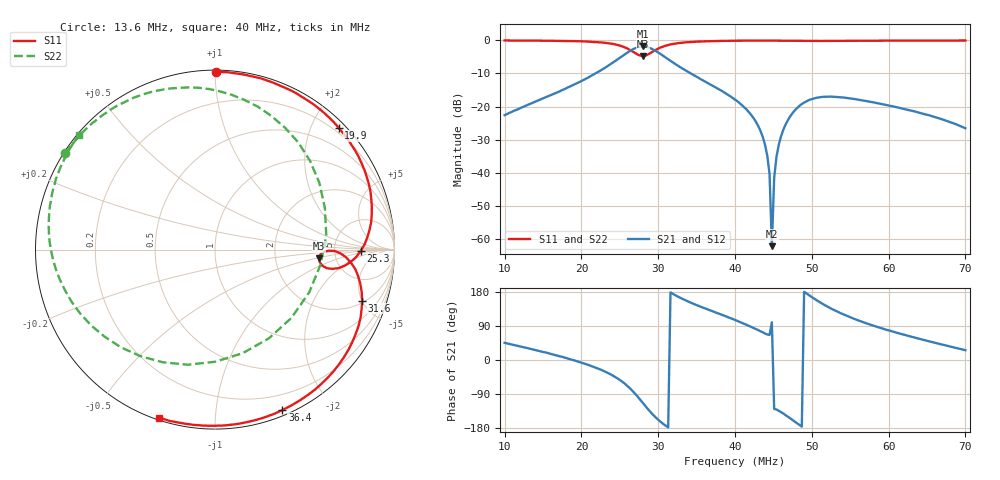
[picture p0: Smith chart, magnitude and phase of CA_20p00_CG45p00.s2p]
#  HZ  S  RI  R  50.00
! Rohde & Schwarz ZVT8 8Ports - Version 4.11 - 1300.0000k08 SN: 100242
! Date: 2026-07-31 14:28:29
! Measurements: S11 S21 S12 S22
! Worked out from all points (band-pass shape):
!   201 points, 10 MHz to 70 MHz, reference 50 ohm
!   highest |S21| = -1.85 dB at 28 MHz (marker M1); lowest = -62.2 dB at 44.8 MHz (marker M2)
!   |S21| within 3 dB of the highest: 25.25 MHz to 30.76 MHz (5.514 MHz wide, 19.7 % of centre)
!   lowest |S11| = -4.7 dB at 28 MHz (marker M3), VSWR 3.78, Z = 185 - j26.8 ohm
!   |S11| at or under -10 dB: nowhere
!   |S22| runs from -4.9 to 0.0 dB; largest |S21 - S12| = 0.0031
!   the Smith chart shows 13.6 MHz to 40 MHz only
!   S11 on the Smith chart (normalised r, x): 13.6 MHz: 0.01, +1.01; 19.9 MHz: 0.12, +2.43; 25.3 MHz: 9.65, -0.41; 31.6 MHz: 2.18, -5.02; 36.4 MHz: 0.05, -1.50; 40 MHz: 0.01, -0.72
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1e7  -0.4078 0.9097  0.0522 0.0527  0.052 0.0527  -0.9168 0.3904
1.36e7  0.00567 0.9914  0.0998 0.0538  0.0999 0.0532  -0.8333 0.5363
1.99e7  0.6887 0.6786  0.2378 -0.0263  0.2383 -0.0263  -0.5311 0.8093
2.02e7  0.7138 0.6488  0.247 -0.0357  0.2464 -0.0353  -0.5087 0.819
2.53e7  0.8125 -0.00715  0.3154 -0.4849  0.315 -0.4833  0.3145 0.7443
2.8e7  0.5796 -0.0479  -0.3204 -0.7424  -0.3175 -0.7437  0.425 -0.3812
3.01e7  0.7569 -0.0722  -0.604 -0.2269  -0.6019 -0.2274  -0.5236 -0.5447
3.16e7  0.8199 -0.2842  -0.4904 0.0138  -0.4913 0.0142  -0.8343 -0.2297
3.64e7  0.376 -0.8938  -0.1584 0.1647  -0.1588 0.1649  -0.8771 0.4165
4e7  -0.3131 -0.9356  -0.0345 0.1227  -0.0345 0.1227  -0.755 0.6408
4.39e7  -0.9752 -0.1817  0.00916 0.0251  0.00915 0.0251  -0.6064 0.7916
4.45e7  -0.9914 0.0236  0.00385 0.00869  0.00388 0.00856  -0.5835 0.8093
4.48e7  -0.9819 0.133  -0.000128 0.000766  -0.000119 0.000894  -0.5712 0.8176
4.51e7  -0.9606 0.2431  -0.00527 -0.00648  -0.0053 -0.00645  -0.5597 0.8268
4.6e7  -0.8117 0.5679  -0.0264 -0.0241  -0.0264 -0.0239  -0.5236 0.8486
4.81e7  -0.00486 0.9838  -0.0929 -0.0214  -0.0928 -0.0213  -0.4397 0.8898
5.02e7  0.7994 0.5676  -0.1263 0.0379  -0.126 0.0377  -0.3609 0.9201
5.23e7  0.9649 -0.1829  -0.1052 0.0943  -0.1051 0.0945  -0.2849 0.9447
5.5e7  0.5576 -0.813  -0.0513 0.1226  -0.0511 0.1223  -0.1864 0.9708
6.01e7  -0.4115 -0.9005  0.0219 0.1009  0.022 0.1004  0.00446 0.9916
6.49e7  -0.9131 -0.3924  0.0472 0.059  0.0472 0.0592  0.1875 0.9766
7e7  -0.9564 0.2758  0.0423 0.0205  0.0421 0.0204  0.3819 0.9205
